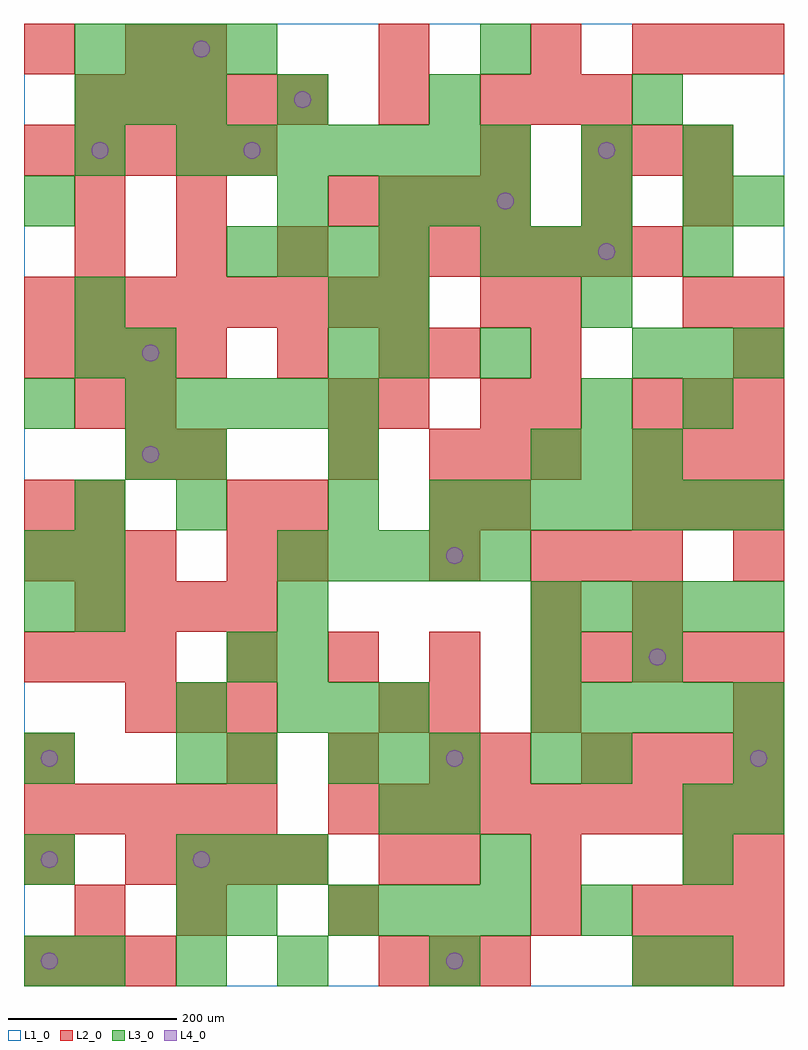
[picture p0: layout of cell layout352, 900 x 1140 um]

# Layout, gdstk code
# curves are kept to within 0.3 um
import gdstk
lib = gdstk.Library(unit=1e-6, precision=1e-09)
def R(c, l, rs):  # rectangles x0, y0, x1, y1
    for r in rs: c.add(gdstk.rectangle(r[:2], r[2:], *l))
def A(c, l, x, y, w, h, nx, ny, dx, dy):  # array of equal rectangles
    R(c, l, [(x+i*dx, y+j*dy, x+i*dx+w, y+j*dy+h) for i in range(nx) for j in range(ny)])
def P(c, l, *ps):  # polygons
    for p in ps: c.add(gdstk.Polygon(p, *l))
L1_0 = (1, 0)
L2_0 = (2, 0)
L3_0 = (3, 0)
L4_0 = (4, 0)

layout352 = lib.new_cell('layout352')
R(layout352, L1_0, [(0,0,900,1140)])
A(layout352, L2_0, 0, 0, 60, 60, 3, 2, 60, 360)
A(layout352, L2_0, 420, 0, 60, 60, 3, 1, 60, 0)
A(layout352, L2_0, 720, 0, 60, 60, 3, 2, 60, 60)
A(layout352, L2_0, 120, 120, 60, 60, 4, 1, 60, 0)
A(layout352, L2_0, 480, 120, 60, 60, 1, 3, 0, 180)
A(layout352, L2_0, 840, 120, 60, 60, 1, 3, 0, 180)
A(layout352, L2_0, 0, 180, 60, 60, 5, 2, 60, 780)
A(layout352, L2_0, 360, 180, 60, 60, 9, 1, 60, 0)
A(layout352, L2_0, 240, 240, 60, 60, 3, 1, 120, 0)
A(layout352, L2_0, 660, 240, 60, 60, 4, 2, 60, 120)
A(layout352, L2_0, 120, 300, 60, 60, 3, 1, 60, 0)
A(layout352, L2_0, 240, 360, 60, 60, 4, 1, 120, 0)
A(layout352, L2_0, 60, 420, 60, 60, 4, 1, 60, 0)
A(layout352, L2_0, 0, 480, 60, 60, 3, 1, 60, 0)
A(layout352, L2_0, 600, 480, 60, 60, 3, 1, 60, 0)
A(layout352, L2_0, 540, 540, 60, 60, 1, 3, 0, 120)
A(layout352, L2_0, 720, 540, 60, 60, 3, 3, 60, 60)
A(layout352, L2_0, 480, 600, 60, 60, 3, 1, 60, 0)
A(layout352, L2_0, 600, 660, 60, 60, 1, 3, 0, 60)
A(layout352, L2_0, 0, 720, 60, 60, 4, 1, 60, 0)
A(layout352, L2_0, 0, 780, 60, 60, 8, 1, 60, 0)
A(layout352, L2_0, 60, 840, 60, 60, 4, 1, 120, 0)
A(layout352, L2_0, 480, 840, 60, 60, 5, 1, 60, 0)
A(layout352, L2_0, 360, 900, 60, 60, 4, 1, 60, 0)
A(layout352, L2_0, 660, 960, 60, 60, 3, 1, 60, 0)
A(layout352, L2_0, 60, 1020, 60, 60, 5, 1, 60, 0)
A(layout352, L2_0, 540, 1020, 60, 60, 3, 1, 60, 0)
A(layout352, L2_0, 720, 1080, 60, 60, 3, 1, 60, 0)
R(layout352, L2_0, [(60,60,120,120), (180,60,240,120), (360,60,420,120), (600,60,660,120), (0,120,60,180), (420,120,480,180), (600,120,660,180), (780,120,840,180), (0,240,60,300), (540,240,600,300), (420,300,480,360), (600,300,660,360), (600,420,660,480), (720,420,780,480), (240,480,300,540), (300,480,360,540), (0,540,60,600), (60,540,120,600), (240,540,300,600), (300,540,360,600), (480,540,540,600), (120,600,180,660), (180,600,240,660), (360,600,420,660), (60,660,120,720), (120,660,180,720), (360,660,420,720), (420,660,480,720), (300,720,360,780), (420,720,480,780), (480,720,540,780), (840,720,900,780), (780,780,840,840), (840,780,900,840), (60,900,120,960), (180,900,240,960), (660,900,720,960), (780,900,840,960), (540,960,600,1020), (420,1020,480,1080), (0,1080,60,1140), (120,1080,180,1140), (180,1080,240,1140), (420,1080,480,1140), (600,1080,660,1140)])
A(layout352, L3_0, 0, 0, 60, 60, 1, 3, 0, 120)
A(layout352, L3_0, 60, 0, 60, 60, 3, 1, 120, 0)
A(layout352, L3_0, 360, 60, 60, 60, 4, 1, 60, 0)
A(layout352, L3_0, 180, 120, 60, 60, 3, 1, 60, 0)
A(layout352, L3_0, 360, 240, 60, 60, 3, 1, 60, 0)
A(layout352, L3_0, 300, 300, 60, 60, 3, 1, 60, 0)
A(layout352, L3_0, 600, 300, 60, 60, 5, 2, 60, 120)
A(layout352, L3_0, 60, 420, 60, 60, 1, 3, 0, 60)
A(layout352, L3_0, 300, 480, 60, 60, 5, 1, 60, 0)
A(layout352, L3_0, 480, 540, 60, 60, 7, 1, 60, 0)
A(layout352, L3_0, 600, 600, 60, 60, 3, 1, 60, 0)
A(layout352, L3_0, 120, 660, 60, 60, 5, 1, 60, 0)
A(layout352, L3_0, 660, 660, 60, 60, 1, 3, 0, 120)
A(layout352, L3_0, 720, 720, 60, 60, 3, 1, 60, 0)
A(layout352, L3_0, 240, 840, 60, 60, 4, 1, 60, 0)
A(layout352, L3_0, 540, 840, 60, 60, 3, 1, 60, 0)
A(layout352, L3_0, 780, 840, 60, 60, 1, 3, 0, 60)
A(layout352, L3_0, 420, 900, 60, 60, 3, 1, 60, 0)
A(layout352, L3_0, 180, 960, 60, 60, 7, 1, 60, 0)
A(layout352, L3_0, 60, 1020, 60, 60, 3, 1, 60, 0)
A(layout352, L3_0, 60, 1080, 60, 60, 4, 1, 60, 0)
R(layout352, L3_0, [(480,0,540,60), (720,0,780,60), (780,0,840,60), (180,60,240,120), (240,60,300,120), (660,60,720,120), (540,120,600,180), (780,120,840,180), (420,180,480,240), (480,180,540,240), (780,180,840,240), (840,180,900,240), (180,240,240,300), (240,240,300,300), (600,240,660,300), (660,240,720,300), (840,240,900,300), (180,300,240,360), (240,360,300,420), (300,360,360,420), (600,360,660,420), (720,360,780,420), (0,420,60,480), (300,420,360,480), (0,480,60,540), (180,540,240,600), (360,540,420,600), (120,600,180,660), (180,600,240,660), (360,600,420,660), (0,660,60,720), (780,660,840,720), (60,720,120,780), (120,720,180,780), (360,720,420,780), (420,720,480,780), (540,720,600,780), (60,780,120,840), (360,780,420,840), (420,780,480,840), (0,900,60,960), (300,900,360,960), (840,900,900,960), (60,960,120,1020), (660,960,720,1020), (300,1020,360,1080), (480,1020,540,1080), (720,1020,780,1080), (540,1080,600,1140)])
P(layout352, L4_0, [(40,30),(39.239,33.827),(37.071,37.071),(33.827,39.239),(30,40),(26.173,39.239),(22.929,37.071),(20.761,33.827),(20,30),(20.761,26.173),(22.929,22.929),(26.173,20.761),(30,20),(33.827,20.761),(37.071,22.929),(39.239,26.173)],
  [(40,150),(39.239,153.827),(37.071,157.071),(33.827,159.239),(30,160),(26.173,159.239),(22.929,157.071),(20.761,153.827),(20,150),(20.761,146.173),(22.929,142.929),(26.173,140.761),(30,140),(33.827,140.761),(37.071,142.929),(39.239,146.173)],
  [(40,270),(39.239,273.827),(37.071,277.071),(33.827,279.239),(30,280),(26.173,279.239),(22.929,277.071),(20.761,273.827),(20,270),(20.761,266.173),(22.929,262.929),(26.173,260.761),(30,260),(33.827,260.761),(37.071,262.929),(39.239,266.173)],
  [(100,990),(99.239,993.827),(97.071,997.071),(93.827,999.239),(90,1000),(86.173,999.239),(82.929,997.071),(80.761,993.827),(80,990),(80.761,986.173),(82.929,982.929),(86.173,980.761),(90,980),(93.827,980.761),(97.071,982.929),(99.239,986.173)],
  [(160,630),(159.239,633.827),(157.071,637.071),(153.827,639.239),(150,640),(146.173,639.239),(142.929,637.071),(140.761,633.827),(140,630),(140.761,626.173),(142.929,622.929),(146.173,620.761),(150,620),(153.827,620.761),(157.071,622.929),(159.239,626.173)],
  [(160,750),(159.239,753.827),(157.071,757.071),(153.827,759.239),(150,760),(146.173,759.239),(142.929,757.071),(140.761,753.827),(140,750),(140.761,746.173),(142.929,742.929),(146.173,740.761),(150,740),(153.827,740.761),(157.071,742.929),(159.239,746.173)],
  [(220,150),(219.239,153.827),(217.071,157.071),(213.827,159.239),(210,160),(206.173,159.239),(202.929,157.071),(200.761,153.827),(200,150),(200.761,146.173),(202.929,142.929),(206.173,140.761),(210,140),(213.827,140.761),(217.071,142.929),(219.239,146.173)],
  [(220,1110),(219.239,1113.827),(217.071,1117.071),(213.827,1119.239),(210,1120),(206.173,1119.239),(202.929,1117.071),(200.761,1113.827),(200,1110),(200.761,1106.173),(202.929,1102.929),(206.173,1100.761),(210,1100),(213.827,1100.761),(217.071,1102.929),(219.239,1106.173)],
  [(280,990),(279.239,993.827),(277.071,997.071),(273.827,999.239),(270,1000),(266.173,999.239),(262.929,997.071),(260.761,993.827),(260,990),(260.761,986.173),(262.929,982.929),(266.173,980.761),(270,980),(273.827,980.761),(277.071,982.929),(279.239,986.173)],
  [(340,1050),(339.239,1053.827),(337.071,1057.071),(333.827,1059.239),(330,1060),(326.173,1059.239),(322.929,1057.071),(320.761,1053.827),(320,1050),(320.761,1046.173),(322.929,1042.929),(326.173,1040.761),(330,1040),(333.827,1040.761),(337.071,1042.929),(339.239,1046.173)],
  [(520,30),(519.239,33.827),(517.071,37.071),(513.827,39.239),(510,40),(506.173,39.239),(502.929,37.071),(500.761,33.827),(500,30),(500.761,26.173),(502.929,22.929),(506.173,20.761),(510,20),(513.827,20.761),(517.071,22.929),(519.239,26.173)],
  [(520,270),(519.239,273.827),(517.071,277.071),(513.827,279.239),(510,280),(506.173,279.239),(502.929,277.071),(500.761,273.827),(500,270),(500.761,266.173),(502.929,262.929),(506.173,260.761),(510,260),(513.827,260.761),(517.071,262.929),(519.239,266.173)],
  [(520,510),(519.239,513.827),(517.071,517.071),(513.827,519.239),(510,520),(506.173,519.239),(502.929,517.071),(500.761,513.827),(500,510),(500.761,506.173),(502.929,502.929),(506.173,500.761),(510,500),(513.827,500.761),(517.071,502.929),(519.239,506.173)],
  [(580,930),(579.239,933.827),(577.071,937.071),(573.827,939.239),(570,940),(566.173,939.239),(562.929,937.071),(560.761,933.827),(560,930),(560.761,926.173),(562.929,922.929),(566.173,920.761),(570,920),(573.827,920.761),(577.071,922.929),(579.239,926.173)],
  [(700,870),(699.239,873.827),(697.071,877.071),(693.827,879.239),(690,880),(686.173,879.239),(682.929,877.071),(680.761,873.827),(680,870),(680.761,866.173),(682.929,862.929),(686.173,860.761),(690,860),(693.827,860.761),(697.071,862.929),(699.239,866.173)],
  [(700,990),(699.239,993.827),(697.071,997.071),(693.827,999.239),(690,1000),(686.173,999.239),(682.929,997.071),(680.761,993.827),(680,990),(680.761,986.173),(682.929,982.929),(686.173,980.761),(690,980),(693.827,980.761),(697.071,982.929),(699.239,986.173)],
  [(760,390),(759.239,393.827),(757.071,397.071),(753.827,399.239),(750,400),(746.173,399.239),(742.929,397.071),(740.761,393.827),(740,390),(740.761,386.173),(742.929,382.929),(746.173,380.761),(750,380),(753.827,380.761),(757.071,382.929),(759.239,386.173)],
  [(880,270),(879.239,273.827),(877.071,277.071),(873.827,279.239),(870,280),(866.173,279.239),(862.929,277.071),(860.761,273.827),(860,270),(860.761,266.173),(862.929,262.929),(866.173,260.761),(870,260),(873.827,260.761),(877.071,262.929),(879.239,266.173)])

lib.write_gds('layout352.gds')
